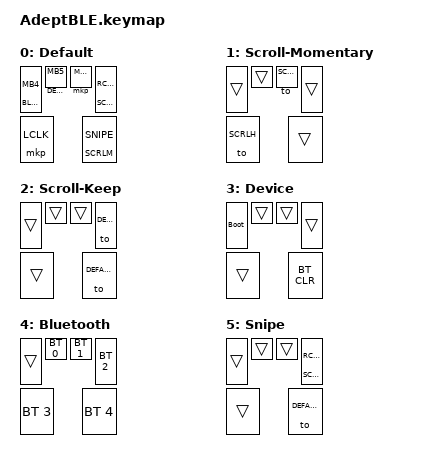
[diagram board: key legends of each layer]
#include <behaviors.dtsi>
#include <dt-bindings/zmk/bt.h>
#include <dt-bindings/zmk/keys.h>
#include <dt-bindings/zmk/pointing.h>
#include <dt-bindings/zmk/outputs.h>

#define DEFAULT 0
#define SCRLM 1
#define SCRLH 2
#define DEVICE 3
#define BLTH 4
#define SNIPE 5

/ {
  combos {
    compatible = "zmk,combos";
    combo_esc {
      timeout-ms = <50>;
      key-positions = <2 3>;
      bindings = <&mkp RCLK>;
    };
  };
  behaviors {
    ltm: layer-tap-momentary {
      compatible = "zmk,behavior-hold-tap";
      #binding-cells = <2>;
      flavor = "tap-preferred";
      tapping-term-ms = <200>;
      bindings = <&mo>, <&mkp>;
    };
    lth: layer-tap-hold-while-undecided {
      compatible = "zmk,behavior-hold-tap";
      #binding-cells = <2>;
      flavor = "hold-preferred";
      hold-while-undecided;
      tapping-term-ms = <150>;
      bindings = <&mo>, <&mkp>;
    };
    mto: momentary-or-toggle {
      compatible = "zmk,behavior-hold-tap";
      #binding-cells = <2>;
      flavor = "hold-preferred";
      hold-while-undecided;
      tapping-term-ms = <200>;
      bindings = <&mo>, <&to>;
    };
  };
  keymap {
    compatible = "zmk,keymap";
    default_layer {
      display-name = "Default";
      bindings = <
        &ltm BLTH MB4 &ltm DEVICE MB5 &mkp MCLK &lth SCRLM RCLK
        &mkp LCLK                               &mto SCRLM SNIPE
      >;
    };

    /* [수정] 스크롤 레이어가 켜졌을 때, 트랙볼을 마구 굴려도 마우스 커서 속도가 
       초당 1~2픽셀 수준으로 극도로 느려지게 락(Lock)을 걸어 스크롤 폭주를 막습니다. */
    scroll_tap_layer {
      display-name = "Scroll-Momentary";
      bindings = <
        &trans &trans &to SCRLH &trans
        &to SCRLH               &trans
      >;
      trackball {
        sampling-rate = <10>;   /* 데이터 보고율을 최하로 떨어뜨려 스크롤 속도를 줄임 */
      };
    };

    scroll_hold_layer {
      display-name = "Scroll-Keep";
      bindings = <
        &trans &trans &trans &to DEFAULT
        &trans               &to DEFAULT
      >;
      trackball {
        sampling-rate = <10>;   /* 유지 레이어에서도 동일하게 속도 감속 적용 */
      };
    };

    device_layer {
      display-name = "Device";
      bindings = <
        &bootloader &trans &trans &trans
        &trans                    &bt BT_CLR
      >;
    };
    bluetooth_layer {
      display-name = "Bluetooth";
      bindings = <
        &trans &bt BT_SEL 0 &bt BT_SEL 1 &bt BT_SEL 2
        &bt BT_SEL 3                     &bt BT_SEL 4
      >;
    };
    snipe_layer {
      display-name = "Snipe";
      bindings = <
        &trans &trans &trans &lth SCRLM RCLK
        &trans               &to DEFAULT
      >;
    };
  };
};
